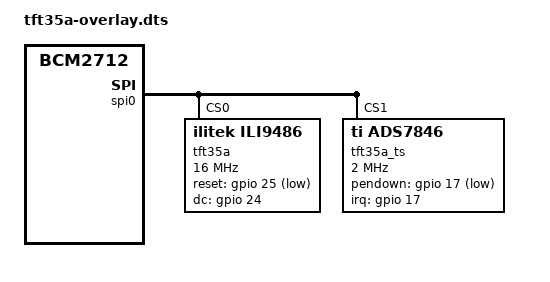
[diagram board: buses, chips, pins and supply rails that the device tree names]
// Overlay para la pantalla 3.5" "RPi Display" (ILI9486 + táctil XPT2046/ADS7846),
// también vendida como LCDwiki MPI3501, "tft35a" o Waveshare 3.5" (A).
//
// Fuente equivalente al binario tft35a-overlay.dtb del driver oficial LCD-show
// (github.com/goodtft/LCD-show), descompilado y documentado para poder
// revisarlo y compilarlo en la propia Pi:
//   dtc -@ -I dts -O dtb -o /boot/firmware/overlays/tft35a.dtbo tft35a-overlay.dts
//
// Pines (numeración BCM): DC=24, RESET=25, IRQ táctil=17, SPI0 CE0=pantalla,
// SPI0 CE1=táctil. Parámetros: speed, rotate (0/90/180/270), fps, bgr, swapxy.
/dts-v1/;
/plugin/;

/ {
	compatible = "brcm,bcm2835", "brcm,bcm2708", "brcm,bcm2709", "brcm,bcm2712";

	fragment@0 {
		target = <&spi0>;
		__overlay__ {
			status = "okay";
			spidev@0 { status = "disabled"; };
			spidev@1 { status = "disabled"; };
		};
	};

	fragment@1 {
		target = <&gpio>;
		__overlay__ {
			tft35a_pins: tft35a_pins {
				brcm,pins = <17 25 24>;      /* IRQ táctil, RESET, DC */
				brcm,function = <0 0 0>;    /* entradas; el driver las reconfigura */
			};
		};
	};

	fragment@2 {
		target = <&spi0>;
		__overlay__ {
			#address-cells = <1>;
			#size-cells = <0>;

			tft35a: tft35a@0 {
				compatible = "ilitek,ili9486";
				reg = <0>;
				pinctrl-names = "default";
				pinctrl-0 = <&tft35a_pins>;
				spi-max-frequency = <16000000>;
				txbuflen = <32768>;
				rotate = <90>;
				bgr = <0>;
				fps = <30>;
				buswidth = <8>;
				regwidth = <16>;   /* la placa usa conversor SPI -> bus de 16 bits */
				reset-gpios = <&gpio 25 1>;
				dc-gpios = <&gpio 24 0>;
				debug = <0>;
				/* secuencia de inicialización del fabricante (LCD-show) */
				init = <
					0x10000f1 0x36 0x04 0x00 0x3c 0x0f 0x8f
					0x10000f2 0x18 0xa3 0x12 0x02 0xb2 0x12 0xff 0x10 0x00
					0x10000f8 0x21 0x04
					0x10000f9 0x00 0x08
					0x1000036 0x08
					0x10000b4 0x00
					0x10000c1 0x41
					0x10000c5 0x00 0x91 0x80 0x00
					0x10000e0 0x0f 0x1f 0x1c 0x0c 0x0f 0x08 0x48 0x98 0x37 0x0a 0x13 0x04 0x11 0x0d 0x00
					0x10000e1 0x0f 0x32 0x2e 0x0b 0x0d 0x05 0x47 0x75 0x37 0x06 0x10 0x03 0x24 0x20 0x00
					0x100003a 0x55
					0x1000011
					0x1000036 0x28
					0x20000ff
					0x1000029
				>;
			};

			tft35a_ts: tft35a-ts@1 {
				compatible = "ti,ads7846";
				reg = <1>;
				spi-max-frequency = <2000000>;
				interrupts = <17 2>;          /* flanco de bajada */
				interrupt-parent = <&gpio>;
				pendown-gpio = <&gpio 17 1>;
				ti,x-plate-ohms = /bits/ 16 <60>;
				ti,pressure-max = /bits/ 16 <255>;
			};
		};
	};

	__overrides__ {
		speed =    <&tft35a>, "spi-max-frequency:0";
		txbuflen = <&tft35a>, "txbuflen:0";
		rotate =   <&tft35a>, "rotate:0";
		fps =      <&tft35a>, "fps:0";
		bgr =      <&tft35a>, "bgr:0";
		debug =    <&tft35a>, "debug:0";
		swapxy =   <&tft35a_ts>, "ti,swap-xy?";
	};
};
